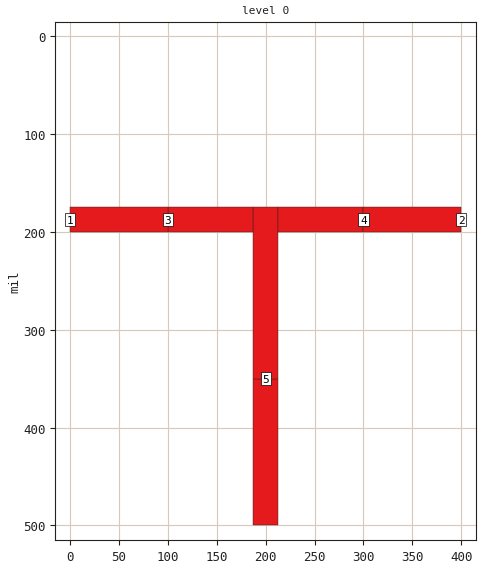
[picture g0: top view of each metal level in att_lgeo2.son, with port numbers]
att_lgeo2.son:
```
FTYP SONPROJ 4 ! Sonnet Project File
VER 12.56
HEADER
LIC sonnetexample.0000
DAT 02/24/2009 09:34:04
BUILT_BY_CREATED example "12.56" 11/23/2009 22:31:05
BUILT_BY_SAVED example "12.56"
MDATE 02/24/2009 09:34:04
HDATE 02/24/2009 09:34:04
END HEADER
DIM
FREQ MHZ
IND NH
LNG MIL
ANG DEG
CON /OH
CAP PF
RES OH
END DIM
FREQ
SIMPLE 200.0 400.0 100.0
END FREQ
CONTROL
SIMPLE
OPTIONS  -d 
SPEED 0
CACHE_ABS 1
TARG_ABS 300
Q_ACC N
END CONTROL
GEO
TMET "Lossless" 0 SUP 0 0 0 0
BMET "Lossless" 0 SUP 0 0 0 0
BOX 1 400 500 64 80 20 0
      250 1 1 0 0 0 1 "Air"
      25 9.8 1 0 0 0 1 "Alumina"
POR1 STD
POLY 9 1
2
5 50 0 0 0 200 350 
POR1 STD
POLY 11 1
1
4 50 0 0 0 300 187.5 
POR1 STD
POLY 13 1
3
3 50 0 0 0 100 187.5 
POR1 STD
POLY 15 1
3
1 50 0 0 0 0 187.5 
POR1 STD
POLY 17 1
1
2 50 0 0 0 400 187.5 
NUM 6
0 5 -1 N 8 1 1 100 100 0 0 0 Y
187.5 350
212.5 350
212.5 500
187.5 500
187.5 350
END
0 5 -1 N 9 1 1 100 100 0 0 0 Y
187.5 175
212.5 175
212.5 350
187.5 350
187.5 175
END
0 5 -1 N 11 1 1 100 100 0 0 0 Y
212.5 175
300 175
300 200
212.5 200
212.5 175
END
0 5 -1 N 13 1 1 100 100 0 0 0 Y
100 175
187.5 175
187.5 200
100 200
100 175
END
0 5 -1 N 15 1 1 100 100 0 0 0 Y
0 175
100 175
100 200
0 200
0 175
END
0 5 -1 N 17 1 1 100 100 0 0 0 Y
300 175
400 175
400 200
300 200
300 175
END
END GEO
OPT
MAX 100
VARS
END OPT
VARSWP
END VARSWP
```
